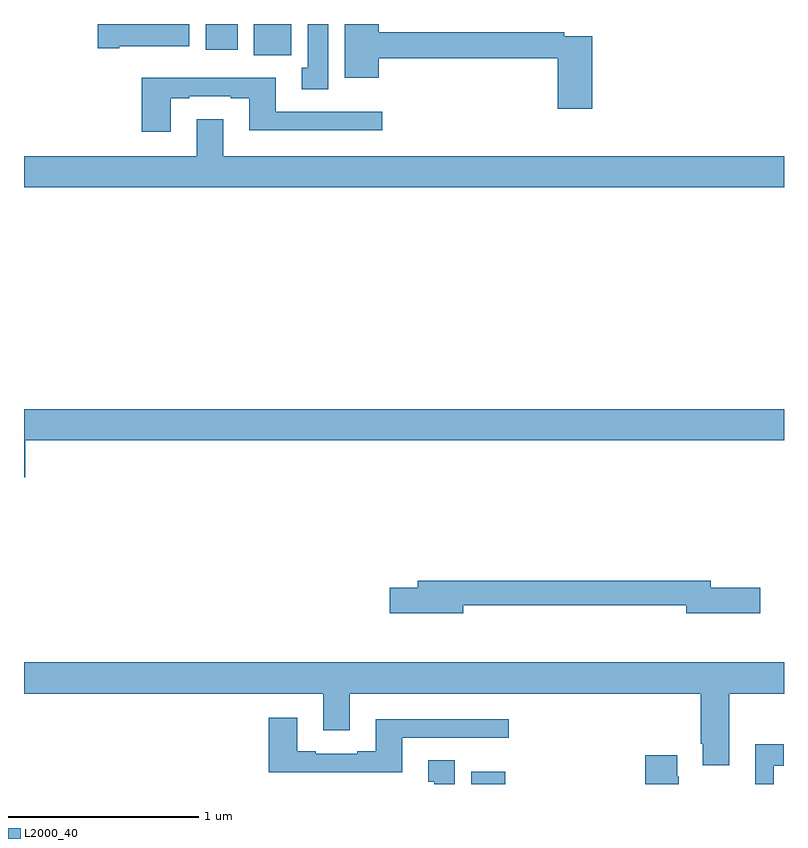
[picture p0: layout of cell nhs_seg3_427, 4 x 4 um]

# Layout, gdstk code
import gdstk
lib = gdstk.Library(unit=1e-6, precision=1e-09)
def R(c, l, rs):  # rectangles x0, y0, x1, y1
    for r in rs: c.add(gdstk.rectangle(r[:2], r[2:], *l))
def P(c, l, *ps):  # polygons
    for p in ps: c.add(gdstk.Polygon(p, *l))
L2000_40 = (2000, 40)

nhs_seg3_427 = lib.new_cell('nhs_seg3_427')
R(nhs_seg3_427, L2000_40, [(133.355,740.4,133.534,740.464), (132.209,744.236,132.406,744.4), (131.957,744.264,132.124,744.4)])
P(nhs_seg3_427, L2000_40, [(132.601,744.4),(132.494,744.4),(132.494,744.17),(132.461,744.17),(132.461,744.057),(132.601,744.057)],
  [(133.991,744.336),(133.844,744.336),(133.844,744.356),(132.868,744.356),(132.868,744.4),(132.689,744.4),(132.689,744.116),(132.868,744.116),(132.868,744.22),(133.808,744.22),(133.808,743.955),(133.991,743.955)],
  [(131.5,744.284),(131.869,744.284),(131.869,744.4),(131.388,744.4),(131.388,744.272),(131.5,744.272)],
  [(131.773,744.009),(131.869,744.009),(131.869,744.021),(132.089,744.021),(132.089,744.009),(132.185,744.009),(132.185,743.84),(132.886,743.84),(132.886,743.937),(132.325,743.937),(132.325,744.118),(131.621,744.118),(131.621,743.832),(131.773,743.832)],
  [(135,743.704),(132.049,743.704),(132.049,743.899),(131.909,743.899),(131.909,743.704),(131,743.704),(131,743.54),(135,743.54)],
  [(131.006,742.208),(135,742.208),(135,742.372),(131,742.372),(131,742.014),(131.006,742.014)],
  [(133.312,741.342),(134.486,741.342),(134.486,741.299),(134.875,741.299),(134.875,741.434),(134.614,741.434),(134.614,741.47),(133.073,741.47),(133.073,741.434),(132.924,741.434),(132.924,741.299),(133.312,741.299)],
  [(134.713,740.876),(135,740.876),(135,741.04),(131,741.04),(131,740.876),(132.575,740.876),(132.575,740.682),(132.715,740.682),(132.715,740.876),(134.561,740.876),(134.561,740.611),(134.573,740.611),(134.573,740.499),(134.713,740.499)],
  [(132.991,740.643),(133.552,740.643),(133.552,740.74),(132.851,740.74),(132.851,740.572),(132.755,740.572),(132.755,740.559),(132.535,740.559),(132.535,740.572),(132.439,740.572),(132.439,740.749),(132.287,740.749),(132.287,740.462),(132.991,740.462)],
  [(134.946,740.495),(134.998,740.495),(134.998,740.608),(134.849,740.608),(134.849,740.4),(134.946,740.4)],
  [(134.445,740.438),(134.437,740.438),(134.437,740.551),(134.27,740.551),(134.27,740.4),(134.445,740.4)],
  [(133.267,740.524),(133.127,740.524),(133.127,740.411),(133.16,740.411),(133.16,740.4),(133.267,740.4)])

lib.write_gds('nhs_seg3_427.gds')
